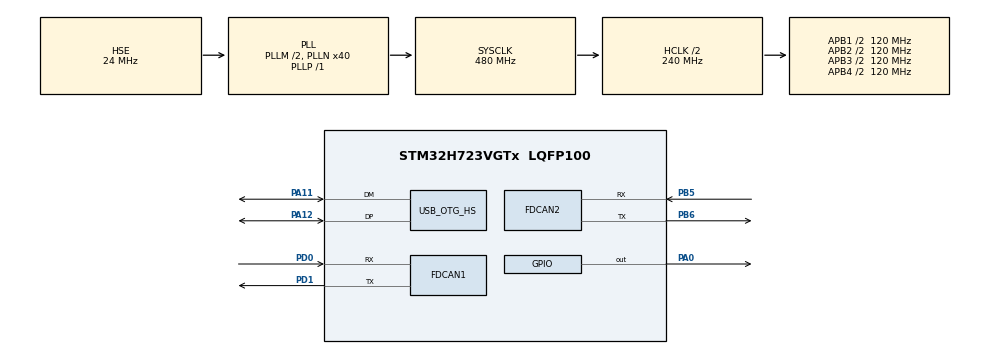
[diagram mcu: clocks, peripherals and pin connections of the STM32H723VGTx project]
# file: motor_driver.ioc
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CORTEX_M7.default_mode_Activation=1
FDCAN1.AutoRetransmission=DISABLE
FDCAN1.CalculateBaudRateNominal=1000000
FDCAN1.CalculateTimeBitNominal=1000
FDCAN1.CalculateTimeQuantumNominal=25.0
FDCAN1.DataPrescaler=3
FDCAN1.DataSyncJumpWidth=10
FDCAN1.DataTimeSeg1=29
FDCAN1.DataTimeSeg2=10
FDCAN1.ExtFiltersNbr=0
FDCAN1.FrameFormat=FDCAN_FRAME_CLASSIC
FDCAN1.NominalPrescaler=3
FDCAN1.NominalSyncJumpWidth=10
FDCAN1.NominalTimeSeg1=29
FDCAN1.NominalTimeSeg2=10
FDCAN1.ProtocolException=DISABLE
FDCAN1.RxBufferSize=FDCAN_DATA_BYTES_32
FDCAN1.RxBuffersNbr=0
FDCAN1.RxFifo0ElmtSize=FDCAN_DATA_BYTES_32
FDCAN1.RxFifo0ElmtsNbr=3
FDCAN1.RxFifo1ElmtSize=FDCAN_DATA_BYTES_32
FDCAN1.StdFiltersNbr=1
FDCAN1.TxBuffersNbr=0
FDCAN1.TxElmtSize=FDCAN_DATA_BYTES_8
FDCAN1.TxFifoQueueElmtsNbr=3
FDCAN2.AutoRetransmission=DISABLE
FDCAN2.CalculateBaudRateNominal=1000000
FDCAN2.CalculateTimeBitNominal=1000
FDCAN2.CalculateTimeQuantumNominal=25.0
FDCAN2.DataPrescaler=3
FDCAN2.DataSyncJumpWidth=10
FDCAN2.DataTimeSeg1=29
FDCAN2.DataTimeSeg2=10
FDCAN2.ExtFiltersNbr=0
FDCAN2.FrameFormat=FDCAN_FRAME_CLASSIC
FDCAN2.MessageRAMOffset=1280
FDCAN2.NominalPrescaler=3
FDCAN2.NominalSyncJumpWidth=10
FDCAN2.NominalTimeSeg1=29
FDCAN2.NominalTimeSeg2=10
FDCAN2.ProtocolException=DISABLE
FDCAN2.RxBufferSize=FDCAN_DATA_BYTES_32
FDCAN2.RxBuffersNbr=0
FDCAN2.RxFifo0ElmtSize=FDCAN_DATA_BYTES_32
FDCAN2.RxFifo1ElmtSize=FDCAN_DATA_BYTES_32
FDCAN2.RxFifo1ElmtsNbr=3
FDCAN2.StdFiltersNbr=1
FDCAN2.TxBuffersNbr=0
FDCAN2.TxElmtSize=FDCAN_DATA_BYTES_8
FDCAN2.TxFifoQueueElmtsNbr=3
Mcu.Family=STM32H7
Mcu.Name=STM32H723VGTx
Mcu.Package=LQFP100
NVIC.FDCAN1_IT0_IRQn=true\:0\:0\:true\:false\:true\:true\:true\:true
NVIC.FDCAN2_IT0_IRQn=true\:0\:0\:true\:false\:true\:true\:true\:true
NVIC.OTG_HS_IRQn=true\:0\:0\:false\:false\:true\:true\:true\:true
NVIC.PriorityGroup=NVIC_PRIORITYGROUP_2
NVIC.TIM6_DAC_IRQn=true\:0\:0\:true\:false\:true\:true\:true\:true
NVIC.TIM7_IRQn=true\:0\:0\:true\:false\:true\:true\:true\:true
PA0.Signal=GPIO_Output
PA11.Mode=Device_Only_FS
PA11.Signal=USB_OTG_HS_DM
PA12.Mode=Device_Only_FS
PA12.Signal=USB_OTG_HS_DP
PB5.GPIO_Speed=GPIO_SPEED_FREQ_MEDIUM
PB5.Mode=FDCAN_Activate
PB5.Signal=FDCAN2_RX
PB6.GPIO_Speed=GPIO_SPEED_FREQ_MEDIUM
PB6.Mode=FDCAN_Activate
PB6.Signal=FDCAN2_TX
PD0.GPIO_Speed=GPIO_SPEED_FREQ_MEDIUM
PD0.Mode=FDCAN_Activate
PD0.Signal=FDCAN1_RX
PD1.GPIO_Speed=GPIO_SPEED_FREQ_MEDIUM
PD1.Mode=FDCAN_Activate
PD1.Signal=FDCAN1_TX
PH0-OSC_IN.Mode=HSE-External-Oscillator
PH0-OSC_IN.Signal=RCC_OSC_IN
PH1-OSC_OUT.Mode=HSE-External-Oscillator
PH1-OSC_OUT.Signal=RCC_OSC_OUT
ProjectManager.HeapSize=0x2000
ProjectManager.StackSize=0x800
ProjectManager.TargetToolchain=MDK-ARM V5
RCC.ADCFreq_Value=48375000
RCC.APB1Freq_Value=120000000
RCC.APB2Freq_Value=120000000
RCC.APB3Freq_Value=120000000
RCC.APB4Freq_Value=120000000
RCC.CortexFreq_Value=480000000
RCC.D1PPRE=RCC_APB3_DIV2
RCC.D2PPRE1=RCC_APB1_DIV2
RCC.D2PPRE2=RCC_APB2_DIV2
RCC.D3PPRE=RCC_APB4_DIV2
RCC.DIVM1=2
RCC.DIVN1=40
RCC.DIVP1=1
RCC.DIVQ1=4
RCC.HCLKFreq_Value=240000000
RCC.HPRE=RCC_HCLK_DIV2
RCC.HSE_VALUE=24000000
RCC.PLLFRACN=0
RCC.PLLSourceVirtual=RCC_PLLSOURCE_HSE
RCC.SYSCLKFreq_VALUE=480000000
RCC.SYSCLKSource=RCC_SYSCLKSOURCE_PLLCLK
RCC.USBCLockSelection=RCC_USBCLKSOURCE_HSI48
RCC.USBFreq_Value=48000000
TIM6.AutoReloadPreload=TIM_AUTORELOAD_PRELOAD_ENABLE
TIM6.Period=2000-1
TIM6.Prescaler=240-1
TIM7.AutoReloadPreload=TIM_AUTORELOAD_PRELOAD_ENABLE
TIM7.Period=300-1
TIM7.Prescaler=240-1
USB_DEVICE.CLASS_NAME_HS=CDC
USB_DEVICE.VirtualMode=Cdc
USB_DEVICE.VirtualModeHS=Cdc_HS
USB_OTG_HS.VirtualMode-Device_Only_FS=Device_Only_FS
VP_MEMORYMAP_VS_MEMORYMAP.Mode=CurAppReg
VP_TIM6_VS_ClockSourceINT.Mode=Enable_Timer
VP_TIM7_VS_ClockSourceINT.Mode=Enable_Timer
VP_USB_DEVICE_VS_USB_DEVICE_CDC_HS.Mode=CDC_HS
board=custom

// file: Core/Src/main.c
/* USER CODE BEGIN Header */
/**
 ******************************************************************************
 * @file           : main.c
 * @brief          : Main program body
 ******************************************************************************
 * @attention
 *
 * Copyright (c) 2024 STMicroelectronics.
 * All rights reserved.
 *
 * This software is licensed under terms that can be found in the LICENSE file
 * in the root directory of this software component.
 * If no LICENSE file comes with this software, it is provided AS-IS.
 *
 ******************************************************************************
 */
/* USER CODE END Header */
#include "main.h"
#include "fdcan.h"
#include "memorymap.h"
#include "tim.h"
#include "usb_device.h"
#include "gpio.h"

/* USER CODE BEGIN Includes */
#include <string.h>
#include "param.h"
#include "upper_comm.h"
#include "can_bsp.h"
#include "dvc_motor.h"
#include "usbd_cdc_if.h"

/* USER CODE END Includes */

void SystemClock_Config(void);
static void MPU_Config(void);

/* USER CODE BEGIN 0 */

// get static variable pointers
static void init_motors()
{
  FDCAN_Init();
}

static void init_system()
{
  init_motors();
  upper_comm_init();
}

static void start_send_motor_cmd()
{
  HAL_TIM_Base_Start_IT(&htim7);
}

static void start_send_low_state()
{
  HAL_TIM_Base_Start_IT(&htim6);
}

/* USER CODE END 0 */

int main(void)
{

  /* MPU Configuration--------------------------------------------------------*/
  MPU_Config();

  /* MCU Configuration--------------------------------------------------------*/

  /* Reset of all peripherals, Initializes the Flash interface and the Systick. */
  HAL_Init();

  /* Configure the system clock */
  SystemClock_Config();

  /* Initialize all configured peripherals */
  MX_GPIO_Init();
  MX_FDCAN1_Init();
  MX_TIM7_Init();
  MX_FDCAN2_Init();
  MX_TIM6_Init();
  MX_USB_DEVICE_Init();
  /* USER CODE BEGIN 2 */
  init_system();
  HAL_Delay(100); // wait for system init
  start_send_motor_cmd();
  start_send_low_state();
  // low_cmd receiving is in CDC_Receive_HS()

  /* USER CODE END 2 */

  /* Infinite loop */
  /* USER CODE BEGIN WHILE */
  while (1)
  {
    HAL_Delay(1); // 2ms delay for pos_des update
    /* USER CODE END WHILE */

  }
}

void SystemClock_Config(void)
{
  RCC_OscInitTypeDef RCC_OscInitStruct = {0};
  RCC_ClkInitTypeDef RCC_ClkInitStruct = {0};

  /** Supply configuration update enable
  */
  HAL_PWREx_ConfigSupply(PWR_LDO_SUPPLY);

  /** Configure the main internal regulator output voltage
  */
  __HAL_PWR_VOLTAGESCALING_CONFIG(PWR_REGULATOR_VOLTAGE_SCALE0);

  while(!__HAL_PWR_GET_FLAG(PWR_FLAG_VOSRDY)) {}

  /** Initializes the RCC Oscillators according to the specified parameters
  * in the RCC_OscInitTypeDef structure.
  */
  RCC_OscInitStruct.OscillatorType = RCC_OSCILLATORTYPE_HSI48|RCC_OSCILLATORTYPE_HSE;
  RCC_OscInitStruct.HSEState = RCC_HSE_ON;
  RCC_OscInitStruct.HSI48State = RCC_HSI48_ON;
  RCC_OscInitStruct.PLL.PLLState = RCC_PLL_ON;
  RCC_OscInitStruct.PLL.PLLSource = RCC_PLLSOURCE_HSE;
  RCC_OscInitStruct.PLL.PLLM = 2;
  RCC_OscInitStruct.PLL.PLLN = 40;
  RCC_OscInitStruct.PLL.PLLP = 1;
  RCC_OscInitStruct.PLL.PLLQ = 4;
  RCC_OscInitStruct.PLL.PLLR = 2;
  RCC_OscInitStruct.PLL.PLLRGE = RCC_PLL1VCIRANGE_3;
  RCC_OscInitStruct.PLL.PLLVCOSEL = RCC_PLL1VCOWIDE;
  RCC_OscInitStruct.PLL.PLLFRACN = 0;
  if (HAL_RCC_OscConfig(&RCC_OscInitStruct) != HAL_OK)
  {
    Error_Handler();
  }

  /** Initializes the CPU, AHB and APB buses clocks
  */
  RCC_ClkInitStruct.ClockType = RCC_CLOCKTYPE_HCLK|RCC_CLOCKTYPE_SYSCLK
                              |RCC_CLOCKTYPE_PCLK1|RCC_CLOCKTYPE_PCLK2
                              |RCC_CLOCKTYPE_D3PCLK1|RCC_CLOCKTYPE_D1PCLK1;
  RCC_ClkInitStruct.SYSCLKSource = RCC_SYSCLKSOURCE_PLLCLK;
  RCC_ClkInitStruct.SYSCLKDivider = RCC_SYSCLK_DIV1;
  RCC_ClkInitStruct.AHBCLKDivider = RCC_HCLK_DIV2;
  RCC_ClkInitStruct.APB3CLKDivider = RCC_APB3_DIV2;
  RCC_ClkInitStruct.APB1CLKDivider = RCC_APB1_DIV2;
  RCC_ClkInitStruct.APB2CLKDivider = RCC_APB2_DIV2;
  RCC_ClkInitStruct.APB4CLKDivider = RCC_APB4_DIV2;

  if (HAL_RCC_ClockConfig(&RCC_ClkInitStruct, FLASH_LATENCY_3) != HAL_OK)
  {
    Error_Handler();
  }
}

/* USER CODE BEGIN 4 */
void HAL_TIM_PeriodElapsedCallback(TIM_HandleTypeDef *htim)
{
  if (htim->Instance == TIM7) // 300us period, 900us command period for each motor
  {
    send_motor_cmd();
  }
  else if (htim->Instance == TIM6) // 2ms period, send low state
  {
    send_low_state();
  }
}

/* USER CODE END 4 */

 /* MPU Configuration */

void MPU_Config(void)
{
  MPU_Region_InitTypeDef MPU_InitStruct = {0};

  /* Disables the MPU */
  HAL_MPU_Disable();

  /** Initializes and configures the Region and the memory to be protected
  */
  MPU_InitStruct.Enable = MPU_REGION_ENABLE;
  MPU_InitStruct.Number = MPU_REGION_NUMBER0;
  MPU_InitStruct.BaseAddress = 0x0;
  MPU_InitStruct.Size = MPU_REGION_SIZE_4GB;
  MPU_InitStruct.SubRegionDisable = 0x87;
  MPU_InitStruct.TypeExtField = MPU_TEX_LEVEL0;
  MPU_InitStruct.AccessPermission = MPU_REGION_NO_ACCESS;
  MPU_InitStruct.DisableExec = MPU_INSTRUCTION_ACCESS_DISABLE;
  MPU_InitStruct.IsShareable = MPU_ACCESS_SHAREABLE;
  MPU_InitStruct.IsCacheable = MPU_ACCESS_NOT_CACHEABLE;
  MPU_InitStruct.IsBufferable = MPU_ACCESS_NOT_BUFFERABLE;

  HAL_MPU_ConfigRegion(&MPU_InitStruct);
  /* Enables the MPU */
  HAL_MPU_Enable(MPU_PRIVILEGED_DEFAULT);

}

void Error_Handler(void)
{
  __disable_irq();
  while (1)
  {
  }
}
